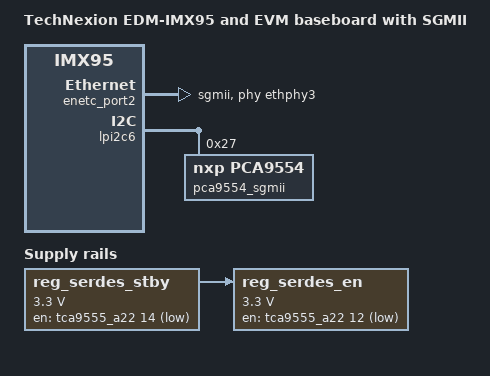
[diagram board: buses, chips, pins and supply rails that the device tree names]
// SPDX-License-Identifier: (GPL-2.0+ OR MIT)
/*
 * Copyright 2024 Technexion Ltd.
 *
 * Author: Richard Hu <richard.hu@technexion.com>
 *
 */

/dts-v1/;

#include "imx95-edm-evm.dts"

/ {
	model = "TechNexion EDM-IMX95 and EVM baseboard with SGMII";
	compatible = "fsl,imx95-edm", "fsl,imx95";

	aliases {
		ethernet0 = &enetc_port1; /* RGMII: RTL8211F on baseboard */
		ethernet1 = &enetc_port0; /* RGMII: RTL8211F on SOM */	
		ethernet2 = &enetc_port2; /* SGMII: RTL8211FS on M.2 */
	};

	reg_serdes_stby: regulator-mac-stby {
		compatible = "regulator-fixed";
		regulator-name = "mac-stby";
		regulator-min-microvolt = <3300000>;
		regulator-max-microvolt = <3300000>;
		gpio = <&tca9555_a22 14 GPIO_ACTIVE_LOW>;
	};

	reg_serdes_en: regulator-mac-en {
		compatible = "regulator-fixed";
		regulator-name = "mac-en";
		regulator-min-microvolt = <3300000>;
		regulator-max-microvolt = <3300000>;
		vin-supply = <&reg_serdes_stby>;
		gpio = <&tca9555_a22 12 GPIO_ACTIVE_LOW>;
	};
};

&enetc_port2 {
	phy-handle = <&ethphy3>;
	phy-mode = "sgmii";
	serdes-supply = <&reg_serdes_en>;
	managed = "in-band-status";
	status = "okay";
};

&mdio_gpio {
	status = "okay";

	ethphy3: ethernet-phy3@4 { /* SGMII RTL8211FS on M.2 expansion board */
		compatible = "ethernet-phy-ieee802.3-c22";
		reg = <4>;
		reset-gpios = <&pca9554_sgmii 0 GPIO_ACTIVE_LOW>;
		reset-assert-us = <35000>;
		reset-deassert-us = <75000>;
		eee-broken-1000t;
		realtek,aldps-disable;
		realtek,clkout-disable;
	};
};

&lpi2c6 {
	status = "okay";
	
	pca9554_sgmii: pca9554_sgmii@27 {
		compatible = "nxp,pca9554";
		reg = <0x27>;
		gpio-controller;
		#gpio-cells = <2>;
		status = "okay";
	};
};

